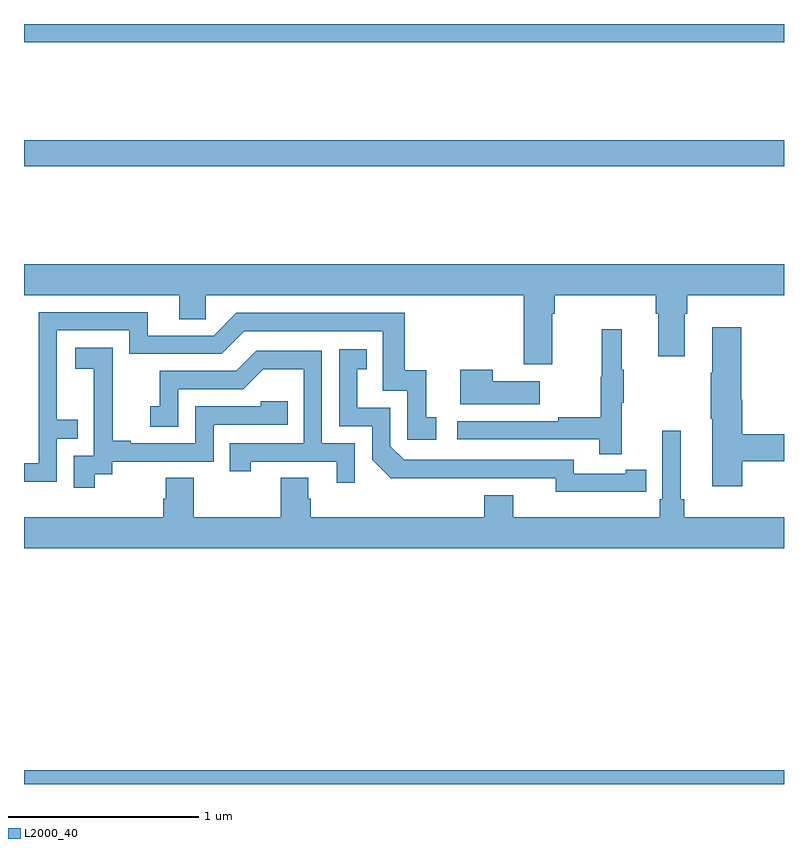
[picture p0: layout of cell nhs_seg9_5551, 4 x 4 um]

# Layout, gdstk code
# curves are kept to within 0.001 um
import gdstk
lib = gdstk.Library(unit=1e-6, precision=1e-09)
def R(c, l, rs):  # rectangles x0, y0, x1, y1
    for r in rs: c.add(gdstk.rectangle(r[:2], r[2:], *l))
def P(c, l, *ps):  # polygons
    for p in ps: c.add(gdstk.Polygon(p, *l))
L2000_40 = (2000, 40)

nhs_seg9_5551 = lib.new_cell('nhs_seg9_5551')
R(nhs_seg9_5551, L2000_40, [(433,1208.5,437,1208.572), (433,1211.752,437,1211.888), (433,1212.404,437,1212.5)])
P(nhs_seg9_5551, L2000_40, [(435.781,1210.976),(435.794,1210.976),(435.794,1211.072),(436.325,1211.072),(436.325,1210.976),(436.337,1210.976),(436.337,1210.752),(436.477,1210.752),(436.477,1210.976),(436.49,1210.976),(436.49,1211.072),(437,1211.072),(437,1211.236),(433,1211.236),(433,1211.072),(433.817,1211.072),(433.817,1210.945),(433.956,1210.945),(433.956,1211.072),(435.629,1211.072),(435.629,1210.71),(435.781,1210.71)],
  [(433.173,1210.317),(433.283,1210.317),(433.283,1210.418),(433.173,1210.418),(433.173,1210.887),(433.554,1210.887),(433.554,1210.764),(434.04,1210.764),(434.16,1210.884),(434.889,1210.884),(434.889,1210.569),(435.018,1210.569),(435.018,1210.311),(435.169,1210.311),(435.169,1210.431),(435.116,1210.431),(435.116,1210.678),(435.005,1210.678),(435.005,1210.98),(434.118,1210.98),(433.998,1210.86),(433.651,1210.86),(433.651,1210.983),(433.077,1210.983),(433.077,1210.188),(433,1210.188),(433,1210.092),(433.173,1210.092)],
  [(436.781,1210.198),(437,1210.198),(437,1210.34),(436.781,1210.34),(436.781,1210.523),(436.776,1210.523),(436.776,1210.903),(436.622,1210.903),(436.622,1210.664),(436.615,1210.664),(436.615,1210.423),(436.622,1210.423),(436.622,1210.068),(436.781,1210.068)],
  [(436.145,1210.507),(436.156,1210.507),(436.156,1210.681),(436.145,1210.681),(436.145,1210.894),(436.042,1210.894),(436.042,1210.644),(436.035,1210.644),(436.035,1210.43),(435.811,1210.43),(435.811,1210.41),(435.279,1210.41),(435.279,1210.314),(436.027,1210.314),(436.027,1210.236),(436.145,1210.236)],
  [(433.372,1210.129),(433.464,1210.129),(433.464,1210.197),(433.998,1210.197),(433.998,1210.392),(434.387,1210.392),(434.387,1210.515),(434.247,1210.515),(434.247,1210.488),(433.902,1210.488),(433.902,1210.293),(433.561,1210.293),(433.561,1210.306),(433.466,1210.306),(433.466,1210.589),(433.467,1210.589),(433.467,1210.795),(433.269,1210.795),(433.269,1210.685),(433.367,1210.685),(433.367,1210.457),(433.368,1210.457),(433.368,1210.227),(433.263,1210.227),(433.263,1210.059),(433.372,1210.059)],
  [(436.166,1210.038),(436.274,1210.038),(436.274,1210.154),(436.166,1210.154),(436.166,1210.134),(435.894,1210.134),(435.894,1210.206),(435,1210.206),(434.928,1210.278),(434.928,1210.479),(434.755,1210.479),(434.755,1210.683),(434.804,1210.683),(434.804,1210.789),(434.658,1210.789),(434.658,1210.383),(434.832,1210.383),(434.832,1210.206),(434.93,1210.109),(435.798,1210.11),(435.798,1210.037)],
  [(434.742,1210.293),(434.568,1210.293),(434.568,1210.779),(434.222,1210.779),(434.117,1210.674),(433.714,1210.674),(433.714,1210.489),(433.665,1210.489),(433.665,1210.38),(433.812,1210.38),(433.812,1210.578),(434.154,1210.578),(434.258,1210.682),(434.472,1210.682),(434.472,1210.293),(434.083,1210.293),(434.083,1210.146),(434.194,1210.146),(434.194,1210.197),(434.645,1210.197),(434.645,1210.086),(434.742,1210.086)],
  [(435.715,1210.621),(435.467,1210.621),(435.467,1210.681),(435.296,1210.681),(435.296,1210.499),(435.715,1210.499)],
  [(437,1209.904),(436.475,1209.904),(436.475,1210),(436.456,1210),(436.456,1210.36),(436.359,1210.36),(436.359,1210),(436.346,1210),(436.346,1209.904),(435.574,1209.904),(435.574,1210.021),(435.422,1210.021),(435.422,1209.904),(434.51,1209.904),(434.51,1210.002),(434.497,1210.002),(434.497,1210.112),(434.35,1210.112),(434.35,1209.904),(433.893,1209.904),(433.893,1210.112),(433.745,1210.112),(433.745,1210.002),(433.733,1210.002),(433.733,1209.904),(433,1209.904),(433,1209.74),(437,1209.74)])

lib.write_gds('nhs_seg9_5551.gds')
